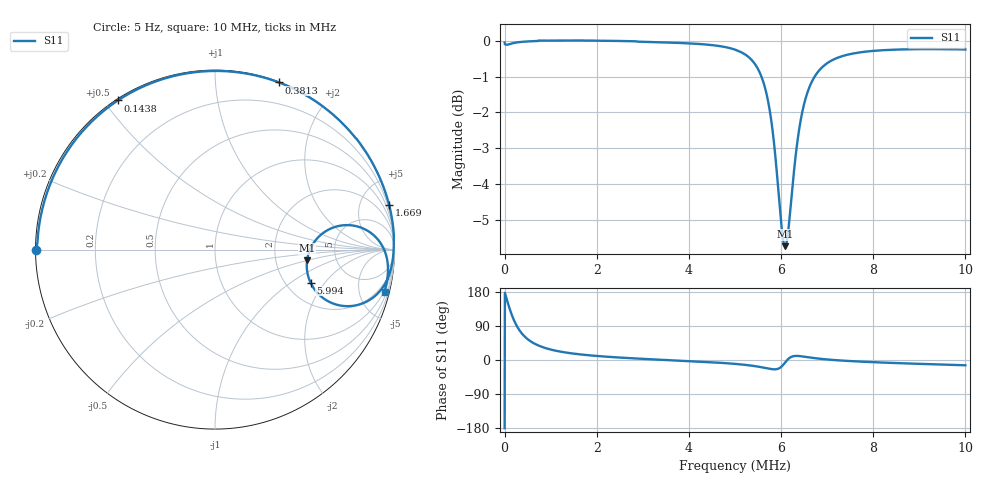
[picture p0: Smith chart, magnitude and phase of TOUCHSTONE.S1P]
!Keysight Technologies,E5061B,MY49912438,B.06.30
!Date: Thu Nov 06 19:18:03 2025
!Data & Calibration Information:
!Freq	S11:SOLT1(ON)
# Hz S MA R 50
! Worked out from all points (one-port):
!   1601 points, 5 Hz to 10 MHz, reference 50 ohm
!   lowest |S11| = -5.7 dB at 6.088 MHz (marker M1), VSWR 3.14, Z = 152 - j24.7 ohm
!   |S11| at or under -10 dB: nowhere
!   S11 on the Smith chart (normalised r, x): 5 Hz: 0.00, -0.00; 143.8 kHz: 0.01, +0.54; 381.3 kHz: 0.00, +1.45; 1.669 MHz: -0.05, +7.91; 5.994 MHz: 2.70, -1.46; 10 MHz: 0.92, -8.08
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5  0.9952 -180.0
31254.98  0.9884 166.6
68754.97  0.9883 151.1
106254.9  0.9901 136.4
143754.9  0.9917 123.1
193754.9  0.9935 107.6
243754.9  0.995 94.6
312504.8  0.9963 80.2
381254.8  0.9973 69.0
518754.7  0.9986 53.2
693754.7  0.9999 40.5
925004.5  1.001 30.1
1250004  1.001 21.3
1668754  1.002 14.4
2500004  0.9999 6.4
3750003  0.994 -1.4
5000002  0.9726 -10.2
5450002  0.925 -16.5
5743752  0.8068 -23.0
5875002  0.6906 -24.5
5993752  0.5631 -19.1
6087502  0.5165 -6.6
6250002  0.6281 9.5
6462502  0.7969 9.4
6687502  0.8821 5.6
7500001  0.9587 -2.8
8750001  0.9736 -9.1
1e7  0.973 -13.9
